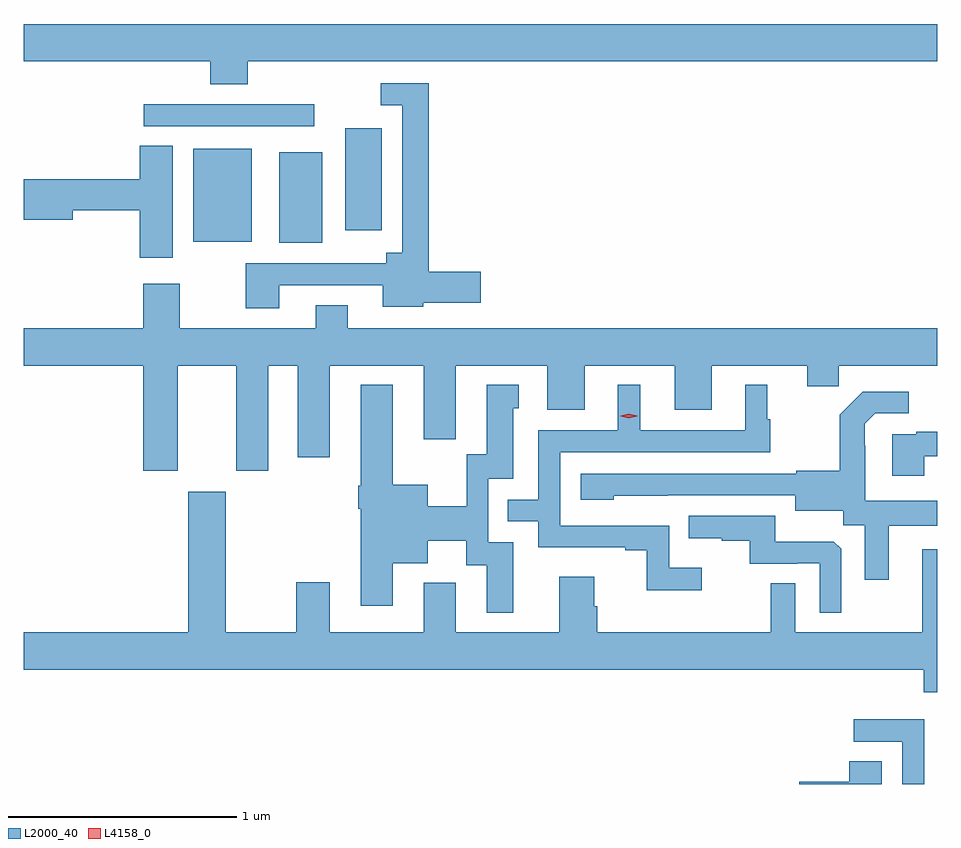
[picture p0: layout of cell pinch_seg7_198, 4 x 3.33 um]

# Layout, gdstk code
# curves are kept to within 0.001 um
import gdstk
lib = gdstk.Library(unit=1e-6, precision=1e-09)
def R(c, l, rs):  # rectangles x0, y0, x1, y1
    for r in rs: c.add(gdstk.rectangle(r[:2], r[2:], *l))
def P(c, l, *ps):  # polygons
    for p in ps: c.add(gdstk.Polygon(p, *l))
L2000_40 = (2000, 40)
L4158_0 = (4158, 0)

pinch_seg7_198 = lib.new_cell('pinch_seg7_198')
R(pinch_seg7_198, L2000_40, [(744.05,1042.445,744.238,1042.843), (743.672,1042.451,743.929,1042.858), (744.338,1042.5,744.499,1042.948), (743.457,1042.956,744.202,1043.052)])
P(pinch_seg7_198, L2000_40, [(743.912,1043.24),(746.931,1043.24),(746.931,1043.404),(742.931,1043.404),(742.931,1043.24),(743.747,1043.24),(743.747,1043.141),(743.912,1043.141)],
  [(744.049,1042.26),(744.503,1042.26),(744.503,1042.166),(744.681,1042.166),(744.681,1042.184),(744.931,1042.184),(744.931,1042.319),(744.704,1042.319),(744.704,1043.145),(744.495,1043.145),(744.495,1043.049),(744.588,1043.049),(744.588,1042.402),(744.518,1042.402),(744.518,1042.356),(743.902,1042.356),(743.902,1042.158),(744.049,1042.158)],
  [(743.584,1042.871),(743.438,1042.871),(743.438,1042.724),(742.931,1042.724),(742.931,1042.546),(743.146,1042.546),(743.146,1042.588),(743.438,1042.588),(743.438,1042.38),(743.584,1042.38)],
  [(743.605,1041.908),(743.861,1041.908),(743.861,1041.447),(744.001,1041.447),(744.001,1041.908),(744.131,1041.908),(744.131,1041.507),(744.271,1041.507),(744.271,1041.908),(744.683,1041.908),(744.683,1041.585),(744.823,1041.585),(744.823,1041.908),(745.223,1041.908),(745.223,1041.714),(745.387,1041.714),(745.387,1041.908),(745.781,1041.908),(745.781,1041.714),(745.945,1041.714),(745.945,1041.908),(746.363,1041.908),(746.363,1041.818),(746.501,1041.818),(746.501,1041.908),(746.931,1041.908),(746.931,1042.072),(744.349,1042.072),(744.349,1042.171),(744.209,1042.171),(744.209,1042.072),(743.613,1042.072),(743.613,1042.267),(743.453,1042.267),(743.453,1042.072),(742.931,1042.072),(742.931,1041.908),(743.453,1041.908),(743.453,1041.447),(743.605,1041.447)],
  [(745.075,1041.135),(744.966,1041.135),(744.966,1041.411),(745.075,1041.411),(745.075,1041.72),(745.099,1041.72),(745.099,1041.823),(744.959,1041.823),(744.959,1041.519),(744.87,1041.519),(744.87,1041.292),(744.7,1041.292),(744.7,1041.385),(744.547,1041.385),(744.547,1041.823),(744.407,1041.823),(744.407,1041.381),(744.395,1041.381),(744.395,1041.281),(744.407,1041.281),(744.407,1040.856),(744.547,1040.856),(744.547,1041.041),(744.7,1041.041),(744.7,1041.14),(744.869,1041.14),(744.869,1041.034),(744.959,1041.034),(744.959,1040.826),(745.075,1040.826)],
  [(745.9,1041.022),(745.758,1041.022),(745.758,1041.207),(745.281,1041.207),(745.281,1041.528),(746.2,1041.528),(746.2,1041.672),(746.188,1041.672),(746.188,1041.823),(746.09,1041.823),(746.09,1041.624),(745.63,1041.624),(745.63,1041.823),(745.532,1041.823),(745.532,1041.624),(745.185,1041.624),(745.185,1041.321),(745.051,1041.321),(745.051,1041.225),(745.185,1041.225),(745.185,1041.111),(745.565,1041.111),(745.565,1041.099),(745.66,1041.099),(745.66,1040.924),(745.9,1040.924)],
  [(746.719,1041.206),(746.931,1041.206),(746.931,1041.316),(746.616,1041.316),(746.616,1041.557),(746.614,1041.557),(746.614,1041.652),(746.661,1041.699),(746.806,1041.699),(746.806,1041.793),(746.605,1041.793),(746.505,1041.693),(746.505,1041.448),(746.313,1041.448),(746.313,1041.435),(745.371,1041.435),(745.371,1041.32),(745.515,1041.32),(745.515,1041.338),(746.309,1041.339),(746.309,1041.272),(746.52,1041.272),(746.52,1041.208),(746.615,1041.208),(746.615,1040.97),(746.719,1040.97)],
  [(746.875,1041.51),(746.931,1041.51),(746.931,1041.619),(746.839,1041.619),(746.839,1041.606),(746.735,1041.606),(746.735,1041.426),(746.875,1041.426)],
  [(746.931,1041.103),(746.867,1041.103),(746.867,1040.74),(746.31,1040.74),(746.31,1040.954),(746.202,1040.954),(746.202,1040.74),(745.442,1040.74),(745.442,1040.853),(745.429,1040.853),(745.429,1040.983),(745.277,1040.983),(745.277,1040.74),(744.823,1040.74),(744.823,1040.956),(744.683,1040.956),(744.683,1040.74),(744.271,1040.74),(744.271,1040.959),(744.124,1040.959),(744.124,1040.74),(743.815,1040.74),(743.815,1041.355),(743.651,1041.355),(743.651,1040.74),(742.931,1040.74),(742.931,1040.576),(746.873,1040.576),(746.873,1040.477),(746.931,1040.477)],
  [(746.511,1041.105),(746.479,1041.137),(746.221,1041.137),(746.221,1041.249),(745.843,1041.249),(745.843,1041.152),(745.987,1041.152),(745.987,1041.141),(746.111,1041.141),(746.111,1041.039),(746.318,1041.039),(746.318,1041.042),(746.418,1041.042),(746.418,1040.825),(746.511,1040.825)],
  [(746.874,1040.358),(746.565,1040.358),(746.565,1040.259),(746.778,1040.259),(746.778,1040.075),(746.874,1040.075)],
  [(746.689,1040.174),(746.546,1040.174),(746.546,1040.084),(746.328,1040.084),(746.328,1040.075),(746.689,1040.075)])
P(pinch_seg7_198, L4158_0, [(745.581,1041.677),(745.546,1041.686),(745.545,1041.687),(745.546,1041.687),(745.581,1041.697),(745.617,1041.687),(745.617,1041.687),(745.617,1041.686)])

lib.write_gds('pinch_seg7_198.gds')
